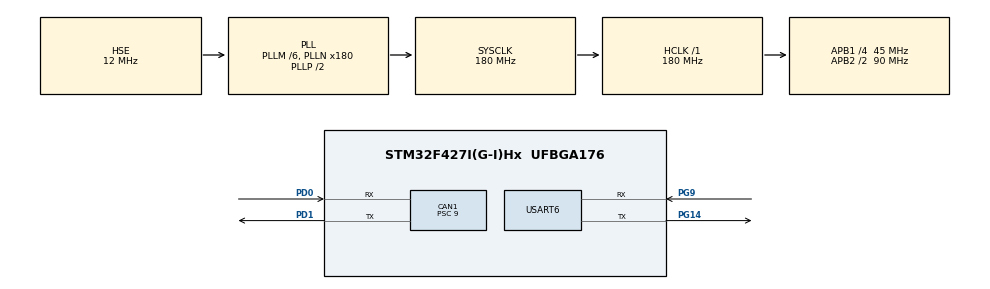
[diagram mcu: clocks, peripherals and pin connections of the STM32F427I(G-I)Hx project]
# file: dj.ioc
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CAN1.ABOM=ENABLE
CAN1.BS1=CAN_BS1_3TQ
CAN1.CalculateBaudRate=1000000
CAN1.CalculateTimeBit=1000.00
CAN1.CalculateTimeQuantum=200.0
CAN1.Prescaler=9
Mcu.Family=STM32F4
Mcu.Name=STM32F427I(G-I)Hx
Mcu.Package=UFBGA176
NVIC.CAN1_RX0_IRQn=true\:0\:0\:false\:false\:true\:true\:true
NVIC.PriorityGroup=NVIC_PRIORITYGROUP_4
NVIC.TIM3_IRQn=true\:0\:0\:false\:false\:true\:true\:true
NVIC.USART6_IRQn=true\:0\:0\:false\:false\:true\:true\:true
PA13.Mode=Serial_Wire
PA13.Signal=SYS_JTMS-SWDIO
PA14.Mode=Serial_Wire
PA14.Signal=SYS_JTCK-SWCLK
PD0.Mode=CAN_Activate
PD0.Signal=CAN1_RX
PD1.Mode=CAN_Activate
PD1.Signal=CAN1_TX
PG14.Mode=Asynchronous
PG14.Signal=USART6_TX
PG9.Mode=Asynchronous
PG9.Signal=USART6_RX
PH0/OSC_IN.Mode=HSE-External-Oscillator
PH0/OSC_IN.Signal=RCC_OSC_IN
PH1/OSC_OUT.Mode=HSE-External-Oscillator
PH1/OSC_OUT.Signal=RCC_OSC_OUT
ProjectManager.HeapSize=0x200
ProjectManager.StackSize=0x400
ProjectManager.TargetToolchain=MDK-ARM V5.27
RCC.48MHZClocksFreq_Value=90000000
RCC.AHBFreq_Value=180000000
RCC.APB1CLKDivider=RCC_HCLK_DIV4
RCC.APB1Freq_Value=45000000
RCC.APB1TimFreq_Value=90000000
RCC.APB2CLKDivider=RCC_HCLK_DIV2
RCC.APB2Freq_Value=90000000
RCC.APB2TimFreq_Value=180000000
RCC.CortexFreq_Value=180000000
RCC.HCLKFreq_Value=180000000
RCC.HSE_VALUE=12000000
RCC.HSI_VALUE=16000000
RCC.LSE_VALUE=32768
RCC.PLLM=6
RCC.PLLN=180
RCC.PLLSourceVirtual=RCC_PLLSOURCE_HSE
RCC.SYSCLKFreq_VALUE=180000000
RCC.SYSCLKSource=RCC_SYSCLKSOURCE_PLLCLK
RCC.VCOOutputFreq_Value=360000000
TIM3.Period=10000
TIM3.Prescaler=18000
USART6.VirtualMode=VM_ASYNC
VP_TIM3_VS_ClockSourceINT.Mode=Internal
board=custom

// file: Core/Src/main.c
/* USER CODE BEGIN Header */
/**
  ******************************************************************************
  * @file           : main.c
  * @brief          : Main program body
  ******************************************************************************
  * @attention
  *
  * <h2><center>&copy; Copyright (c) 2021 STMicroelectronics.
  * All rights reserved.</center></h2>
  *
  * This software component is licensed by ST under BSD 3-Clause license,
  * the "License"; You may not use this file except in compliance with the
  * License. You may obtain a copy of the License at:
  *                        opensource.org/licenses/BSD-3-Clause
  *
  ******************************************************************************
  */
/* USER CODE END Header */
#include "main.h"
#include "can.h"
#include "tim.h"
#include "usart.h"
#include "gpio.h"

/* USER CODE BEGIN Includes */
#include "pid.h"
#include "math.h"
#include "stdlib.h"
/* USER CODE END Includes */

/* USER CODE BEGIN PV */
//fp32 PID[3]={45,18,0};//速度
//fp32 PID[3]={0,0,0};//角度 注:0 = 8000多当手动调到0的时候会直接突变到8000//5  31.5 8.2 0
int T_Angel = 1000, Target = 500;
PidTypeDef angle_pid,speed_pid;

//float A_kp = 5, A_ki = 0, A_kd = 0;
//float S_kp = 2, S_ki = 0, S_kd = 0;
//float A_Error_Last = 0,A_Error_Prev = 0,A_SumError = 0;
//float S_Error_Last = 0,S_Error_Prev = 0,S_SumError = 0;
fp32 angle_pid_parameters[] = {100,35,0};
fp32 speed_pid_parameters[] = {35,13,0};
/* USER CODE END PV */

void SystemClock_Config(void);

int main(void)
{

  /* MCU Configuration--------------------------------------------------------*/

  /* Reset of all peripherals, Initializes the Flash interface and the Systick. */
  HAL_Init();

  /* Configure the system clock */
  SystemClock_Config();

  /* Initialize all configured peripherals */
  MX_GPIO_Init();
  MX_CAN1_Init();
  MX_USART6_UART_Init();
  MX_TIM3_Init();
  /* USER CODE BEGIN 2 */
	HAL_TIM_Base_Start_IT(&htim3);
	PID_Init(&angle_pid, PID_POSITION, angle_pid_parameters, 2000, 2000);
  PID_Init(&speed_pid, PID_POSITION, speed_pid_parameters, 20000, 20000);
	USER_CAN_Start();
	//PID_Init(&pid,0,PID,20000,20000);//电压限幅（给的电压）10000
	//PID_Init(&pid,PID_POSITION,PID,20000,20000);//电压限幅（给的电压）
  /* USER CODE END 2 */

  /* Infinite loop */
  while (1)
  {

    /* USER CODE BEGIN 3 */
		//int Angle = PID_Calc(&pid,motor_1.MechDegree,Target);//Output 电压 Target 角度
		//int16_t Output = C_PID(T_Angel,Target);//Output 电压 Target 速度
		PID_Calc(&angle_pid, motor_1.MechDegree, T_Angel);
		if(T_Angel - motor_1.MechDegree > 4096)
		 {
			 angle_pid.out = T_Angel - motor_1.MechDegree - 8192;
		 }
		 else if (T_Angel - motor_1.MechDegree < -4096)
		 {
				 angle_pid.out = T_Angel - motor_1.MechDegree + 8192;
		 }
		 else
		 {
				 angle_pid.out = T_Angel - motor_1.MechDegree ;
		 }
    PID_Calc(&speed_pid, motor_1.Speed, angle_pid.out);
		printf("%f,%f,%f,%f,%f,%f\n",(double)motor_1.MechDegree,(double)motor_1.Speed,(double)angle_pid.out,(double)motor_1.Temperature,(double)Target,(double)speed_pid.out);
		GM6020_SetCurrent(speed_pid.out);
    HAL_Delay(10);
  }
  /* USER CODE END 3 */
}

void SystemClock_Config(void)
{
  RCC_OscInitTypeDef RCC_OscInitStruct = {0};
  RCC_ClkInitTypeDef RCC_ClkInitStruct = {0};

  /** Configure the main internal regulator output voltage
  */
  __HAL_RCC_PWR_CLK_ENABLE();
  __HAL_PWR_VOLTAGESCALING_CONFIG(PWR_REGULATOR_VOLTAGE_SCALE1);
  /** Initializes the RCC Oscillators according to the specified parameters
  * in the RCC_OscInitTypeDef structure.
  */
  RCC_OscInitStruct.OscillatorType = RCC_OSCILLATORTYPE_HSE;
  RCC_OscInitStruct.HSEState = RCC_HSE_ON;
  RCC_OscInitStruct.PLL.PLLState = RCC_PLL_ON;
  RCC_OscInitStruct.PLL.PLLSource = RCC_PLLSOURCE_HSE;
  RCC_OscInitStruct.PLL.PLLM = 6;
  RCC_OscInitStruct.PLL.PLLN = 180;
  RCC_OscInitStruct.PLL.PLLP = RCC_PLLP_DIV2;
  RCC_OscInitStruct.PLL.PLLQ = 4;
  if (HAL_RCC_OscConfig(&RCC_OscInitStruct) != HAL_OK)
  {
    Error_Handler();
  }
  /** Activate the Over-Drive mode
  */
  if (HAL_PWREx_EnableOverDrive() != HAL_OK)
  {
    Error_Handler();
  }
  /** Initializes the CPU, AHB and APB buses clocks
  */
  RCC_ClkInitStruct.ClockType = RCC_CLOCKTYPE_HCLK|RCC_CLOCKTYPE_SYSCLK
                              |RCC_CLOCKTYPE_PCLK1|RCC_CLOCKTYPE_PCLK2;
  RCC_ClkInitStruct.SYSCLKSource = RCC_SYSCLKSOURCE_PLLCLK;
  RCC_ClkInitStruct.AHBCLKDivider = RCC_SYSCLK_DIV1;
  RCC_ClkInitStruct.APB1CLKDivider = RCC_HCLK_DIV4;
  RCC_ClkInitStruct.APB2CLKDivider = RCC_HCLK_DIV2;

  if (HAL_RCC_ClockConfig(&RCC_ClkInitStruct, FLASH_LATENCY_5) != HAL_OK)
  {
    Error_Handler();
  }
}

/* USER CODE BEGIN 4 */
int fputc(int ch, FILE *f)
{
	HAL_UART_Transmit(&huart6,(uint8_t *)&ch,1,HAL_MAX_DELAY);
	return ch;
}
void HAL_TIM_PeriodElapsedCallback(TIM_HandleTypeDef *htim)
{
	if(htim ->Instance == TIM3)
	{
		//T_Angel = (T_Angel + 1000) % 8192;
		T_Angel = (T_Angel + 2000) % 8192;
	}
}
//位置式串级PID
/*int C_PID(int T_Angel, int Target)
{
	int Error;
	float A_Output,S_Output,Ero;
	//error >  4096 对error 减8192
	//error < -4096 对error 加8192
 if(T_Angel - motor_1.MechDegree > 4096)
 {
	 Error = T_Angel - motor_1.MechDegree - 8192;
 }
 else if (T_Angel - motor_1.MechDegree < -4096)
 {
	 	 Error = T_Angel - motor_1.MechDegree + 8192;
 }
 else
 {
	 	 Error = T_Angel - motor_1.MechDegree ;
 }
	A_SumError += Error;
	A_SumError = Limit (A_SumError,6000);

	A_Error_Prev = A_Error_Last;
	A_Error_Last = Error;

	A_Output = A_kp * Error + A_ki * A_SumError + A_kd * (A_Error_Last - A_Error_Prev);

	Ero = A_Output - Target;
	S_SumError += Ero;
	S_SumError = Limit (S_SumError,200);
	S_Error_Prev = S_Error_Last;
	S_Error_Last = Ero;

	S_Output = S_kp * Ero + S_ki * S_SumError + S_kd * (S_Error_Last - S_Error_Prev);
	S_Output = Limit(S_Output, 20000);
	return S_Output;
}
int Limit(float x,int p)
{
	int Out;
	if( x > p )
	{
		return p;
	}
	if( x < -p)
	{
		return -p;
	}
	return x;
}
*/
/* USER CODE END 4 */

void Error_Handler(void)
{
  __disable_irq();
  while (1)
  {
  }
}

/************************ (C) COPYRIGHT STMicroelectronics *****END OF FILE****/
